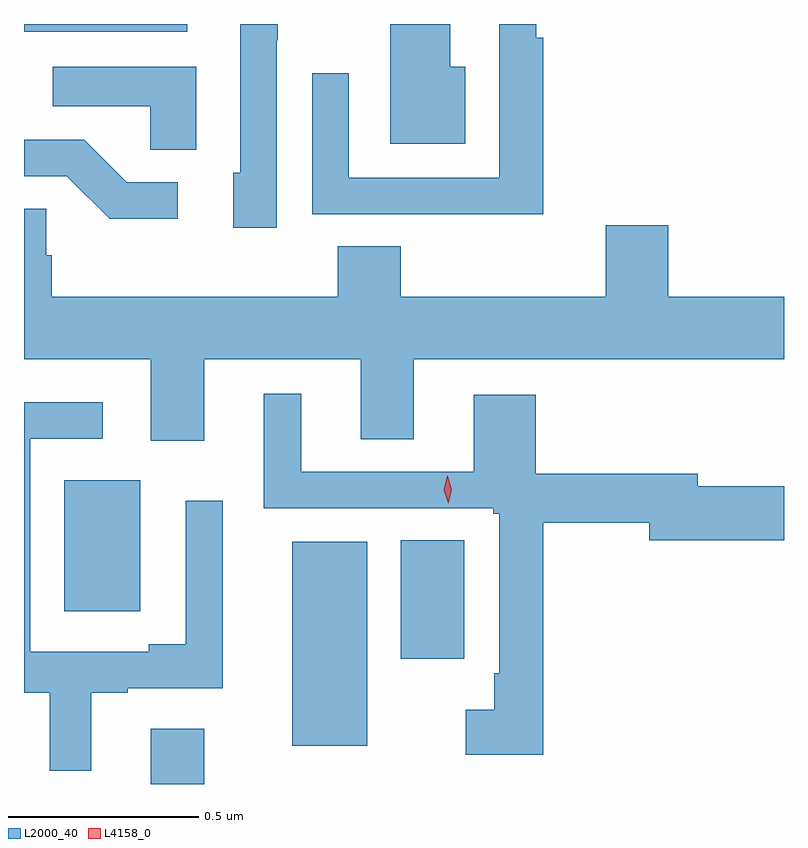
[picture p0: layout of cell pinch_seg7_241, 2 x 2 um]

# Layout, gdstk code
import gdstk
lib = gdstk.Library(unit=1e-6, precision=1e-09)
def R(c, l, rs):  # rectangles x0, y0, x1, y1
    for r in rs: c.add(gdstk.rectangle(r[:2], r[2:], *l))
def P(c, l, *ps):  # polygons
    for p in ps: c.add(gdstk.Polygon(p, *l))
L2000_40 = (2000, 40)
L4158_0 = (4158, 0)

pinch_seg7_241 = lib.new_cell('pinch_seg7_241')
R(pinch_seg7_241, L2000_40, [(847.127,1058.106,847.267,1058.251), (847.499,1058.207,847.696,1058.743), (847.784,1058.436,847.951,1058.747), (846.899,1058.561,847.099,1058.905), (846.793,1060.086,847.222,1060.106)])
P(pinch_seg7_241, L2000_40, [(847.954,1059.994),(847.915,1059.994),(847.915,1060.106),(847.757,1060.106),(847.757,1059.791),(847.954,1059.791)],
  [(848.159,1060.07),(848.141,1060.07),(848.141,1060.106),(848.043,1060.106),(848.043,1059.702),(847.647,1059.702),(847.647,1059.976),(847.551,1059.976),(847.551,1059.606),(847.867,1059.606),(847.867,1059.605),(848.159,1059.605)],
  [(847.458,1060.063),(847.461,1060.063),(847.461,1060.106),(847.362,1060.106),(847.362,1059.714),(847.343,1059.714),(847.343,1059.57),(847.458,1059.57)],
  [(847.246,1059.994),(846.868,1059.994),(846.868,1059.89),(847.125,1059.89),(847.125,1059.775),(847.246,1059.775)],
  [(847.198,1059.69),(847.063,1059.69),(846.952,1059.801),(846.793,1059.801),(846.793,1059.705),(846.906,1059.705),(847.019,1059.593),(847.198,1059.593)],
  [(847.267,1059.224),(847.679,1059.224),(847.679,1059.013),(847.819,1059.013),(847.819,1059.224),(848.793,1059.224),(848.793,1059.388),(848.488,1059.388),(848.488,1059.577),(848.324,1059.577),(848.324,1059.388),(847.784,1059.388),(847.784,1059.521),(847.619,1059.521),(847.619,1059.388),(846.866,1059.388),(846.866,1059.497),(846.852,1059.497),(846.852,1059.62),(846.793,1059.62),(846.793,1059.224),(847.127,1059.224),(847.127,1059.009),(847.267,1059.009)],
  [(848.159,1058.794),(848.438,1058.794),(848.438,1058.747),(848.793,1058.747),(848.793,1058.889),(848.566,1058.889),(848.566,1058.923),(848.14,1058.923),(848.14,1059.13),(847.976,1059.13),(847.976,1058.928),(847.522,1058.928),(847.522,1059.133),(847.424,1059.133),(847.424,1058.832),(848.028,1058.832),(848.028,1058.817),(848.043,1058.817),(848.043,1058.398),(848.031,1058.398),(848.031,1058.302),(847.956,1058.302),(847.956,1058.183),(848.159,1058.183)],
  [(846.97,1058.346),(847.066,1058.346),(847.066,1058.358),(847.316,1058.358),(847.316,1058.851),(847.218,1058.851),(847.218,1058.474),(847.121,1058.474),(847.121,1058.454),(846.81,1058.454),(846.81,1059.015),(847,1059.015),(847,1059.111),(846.793,1059.111),(846.793,1058.346),(846.861,1058.346),(846.861,1058.141),(846.97,1058.141)])
P(pinch_seg7_241, L4158_0, [(847.909,1058.844),(847.909,1058.845),(847.898,1058.88),(847.907,1058.916),(847.907,1058.917),(847.908,1058.916),(847.918,1058.881),(847.909,1058.845)])

lib.write_gds('pinch_seg7_241.gds')
